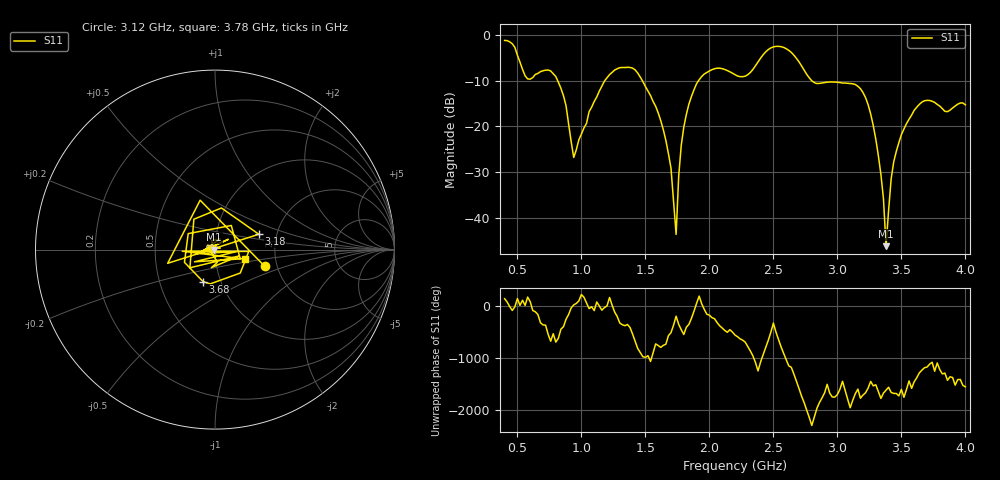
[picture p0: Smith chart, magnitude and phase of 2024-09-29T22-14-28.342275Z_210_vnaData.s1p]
!Created with skrf (http://scikit-rf.org).
# Hz S RI R 50.0
!freq ReS11 ImS11
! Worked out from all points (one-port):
!   181 points, 400 MHz to 4 GHz, reference 50 ohm
!   lowest |S11| = -46.3 dB at 3.38 GHz (marker M1), VSWR 1.01, Z = 49.5 + j0.0475 ohm
!   |S11| at or under -10 dB: 814.7 MHz to 1.182 GHz (367.4 MHz wide, 36.8 % of centre); 1.476 GHz to 1.915 GHz (438.7 MHz wide, 25.9 % of centre); 2.799 GHz to end of sweep
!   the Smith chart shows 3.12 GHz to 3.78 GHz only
!   S11 on the Smith chart (normalised r, x): 3.12 GHz: 1.72, -0.35; 3.18 GHz: 1.61, +0.30; 3.68 GHz: 0.82, -0.31; 3.78 GHz: 1.39, -0.15
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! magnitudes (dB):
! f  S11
! 400 MHz  -1.2
! 580 MHz  -9.6
! 760 MHz  -7.9
! 860 MHz  -13.3
! 940 MHz  -26.8
! 1.18 GHz  -10.1
! 1.3 GHz  -7.1
! 1.42 GHz  -7.6
! 1.6 GHz  -17.1
! 1.7 GHz  -29.2
! 1.74 GHz  -43.7
! 1.76 GHz  -31.0
! 1.8 GHz  -20.2
! 1.9 GHz  -10.6
! 2.2 GHz  -8.7
! 2.66 GHz  -4.4
! 2.82 GHz  -10.4
! 3.1 GHz  -10.6
! 3.12 GHz  -10.7
! 3.18 GHz  -11.7
! 3.3 GHz  -22.8
! 3.36 GHz  -35.9
! 3.38 GHz  -46.3
! 3.44 GHz  -27.8
! 3.56 GHz  -18.4
! 3.68 GHz  -14.4
! 3.78 GHz  -15.2
! 4 GHz  -15.3
